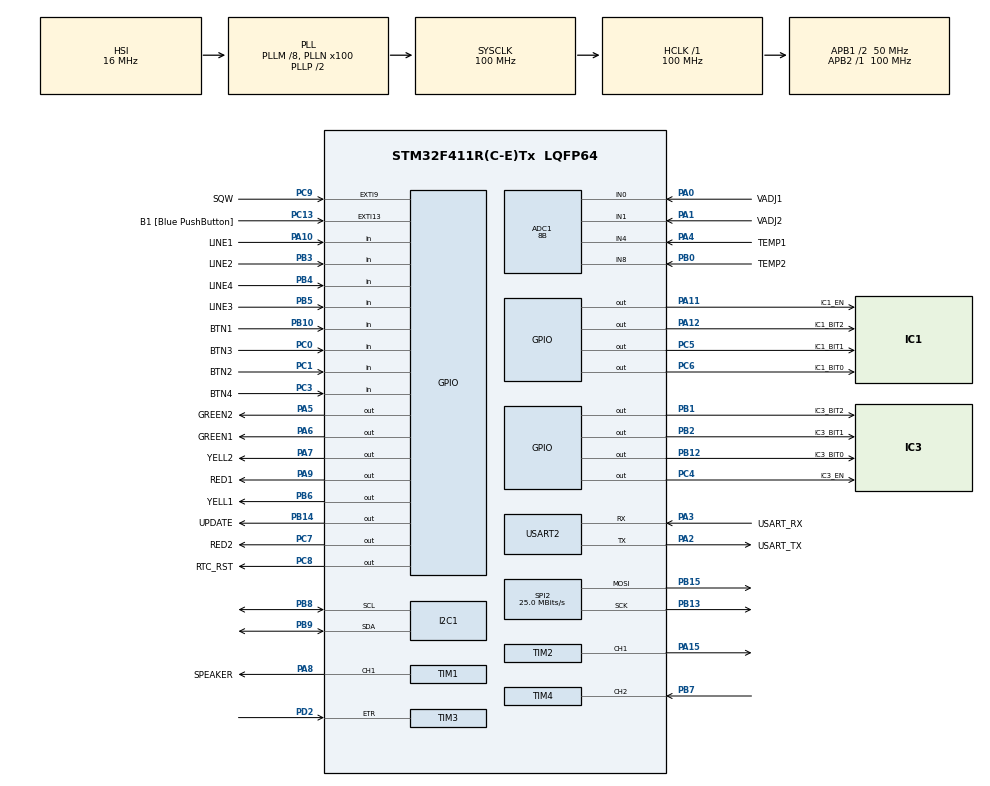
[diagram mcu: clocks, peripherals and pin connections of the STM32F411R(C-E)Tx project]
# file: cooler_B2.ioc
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ADC1.Channel-0\#ChannelRegularConversion=ADC_CHANNEL_0
ADC1.Channel-1\#ChannelRegularConversion=ADC_CHANNEL_1
ADC1.DiscontinuousConvMode=ENABLE
ADC1.EOCSelection=ADC_EOC_SEQ_CONV
ADC1.InjNumberOfConversion=0
ADC1.NbrOfConversion=2
ADC1.NbrOfConversionFlag=1
ADC1.Rank-0\#ChannelRegularConversion=1
ADC1.Rank-1\#ChannelRegularConversion=2
ADC1.Resolution=ADC_RESOLUTION_8B
ADC1.SamplingTime-0\#ChannelRegularConversion=ADC_SAMPLETIME_56CYCLES
ADC1.SamplingTime-1\#ChannelRegularConversion=ADC_SAMPLETIME_56CYCLES
ADC1.master=1
Mcu.Family=STM32F4
Mcu.Name=STM32F411R(C-E)Tx
Mcu.Package=LQFP64
NVIC.PriorityGroup=NVIC_PRIORITYGROUP_0
NVIC.TIM1_UP_TIM10_IRQn=true\:0\:0\:false\:false\:true\:true\:true\:true
NVIC.TIM4_IRQn=true\:0\:0\:false\:false\:true\:true\:true\:true
PA0-WKUP.GPIO_Label=VADJ1
PA0-WKUP.Signal=ADCx_IN0
PA1.GPIO_Label=VADJ2
PA1.Signal=ADCx_IN1
PA10.GPIO_Label=LINE1
PA10.Signal=GPIO_Input
PA11.GPIO_Label=IC1_EN
PA11.GPIO_Speed=GPIO_SPEED_FREQ_VERY_HIGH
PA11.Signal=GPIO_Output
PA12.GPIO_Label=IC1_BIT2
PA12.GPIO_Speed=GPIO_SPEED_FREQ_VERY_HIGH
PA12.Signal=GPIO_Output
PA13.GPIO_Label=TMS
PA13.Mode=Serial_Wire
PA13.Signal=SYS_JTMS-SWDIO
PA14.GPIO_Label=TCK
PA14.Mode=Serial_Wire
PA14.Signal=SYS_JTCK-SWCLK
PA15.Signal=S_TIM2_CH1_ETR
PA2.GPIO_Label=USART_TX
PA2.Mode=Asynchronous
PA2.Signal=USART2_TX
PA3.GPIO_Label=USART_RX
PA3.Mode=Asynchronous
PA3.Signal=USART2_RX
PA4.GPIO_Label=TEMP1
PA4.Signal=ADCx_IN4
PA5.GPIO_Label=GREEN2
PA5.GPIO_Speed=GPIO_SPEED_FREQ_VERY_HIGH
PA5.Signal=GPIO_Output
PA6.GPIO_Label=GREEN1
PA6.GPIO_Speed=GPIO_SPEED_FREQ_VERY_HIGH
PA6.Signal=GPIO_Output
PA7.GPIO_Label=YELL2
PA7.GPIO_Speed=GPIO_SPEED_FREQ_VERY_HIGH
PA7.Signal=GPIO_Output
PA8.GPIO_Label=SPEAKER
PA8.GPIO_Speed=GPIO_SPEED_FREQ_VERY_HIGH
PA8.Signal=S_TIM1_CH1
PA9.GPIO_Label=RED1
PA9.GPIO_Speed=GPIO_SPEED_FREQ_VERY_HIGH
PA9.Signal=GPIO_Output
PB0.GPIO_Label=TEMP2
PB0.Signal=ADCx_IN8
PB1.GPIO_Label=IC3_BIT2
PB1.GPIO_Speed=GPIO_SPEED_FREQ_VERY_HIGH
PB1.Signal=GPIO_Output
PB10.GPIO_Label=BTN1
PB10.GPIO_PuPd=GPIO_PULLUP
PB10.Signal=GPIO_Input
PB12.GPIO_Label=IC3_BIT0
PB12.GPIO_Speed=GPIO_SPEED_FREQ_VERY_HIGH
PB12.Signal=GPIO_Output
PB13.Mode=TX_Only_Simplex_Unidirect_Master
PB13.Signal=SPI2_SCK
PB14.GPIO_Label=UPDATE
PB14.GPIO_Speed=GPIO_SPEED_FREQ_VERY_HIGH
PB14.Signal=GPIO_Output
PB15.Mode=TX_Only_Simplex_Unidirect_Master
PB15.Signal=SPI2_MOSI
PB2.GPIO_Label=IC3_BIT1
PB2.GPIO_Speed=GPIO_SPEED_FREQ_VERY_HIGH
PB2.Signal=GPIO_Output
PB3.GPIO_Label=LINE2
PB3.Signal=GPIO_Input
PB4.GPIO_Label=LINE4
PB4.Signal=GPIO_Input
PB5.GPIO_Label=LINE3
PB5.Signal=GPIO_Input
PB6.GPIO_Label=YELL1
PB6.GPIO_Speed=GPIO_SPEED_FREQ_VERY_HIGH
PB6.Signal=GPIO_Output
PB7.GPIO_PuPd=GPIO_PULLUP
PB7.Signal=S_TIM4_CH2
PB8.Mode=I2C
PB8.Signal=I2C1_SCL
PB9.Mode=I2C
PB9.Signal=I2C1_SDA
PC0.GPIO_Label=BTN3
PC0.GPIO_PuPd=GPIO_PULLUP
PC0.Signal=GPIO_Input
PC1.GPIO_Label=BTN2
PC1.GPIO_PuPd=GPIO_PULLUP
PC1.Signal=GPIO_Input
PC13-ANTI_TAMP.GPIO_Label=B1 [Blue PushButton]
PC13-ANTI_TAMP.GPIO_ModeDefaultEXTI=GPIO_MODE_IT_FALLING
PC13-ANTI_TAMP.Signal=GPXTI13
PC14-OSC32_IN.Mode=LSE-External-Oscillator
PC14-OSC32_IN.Signal=RCC_OSC32_IN
PC15-OSC32_OUT.Mode=LSE-External-Oscillator
PC15-OSC32_OUT.Signal=RCC_OSC32_OUT
PC3.GPIO_Label=BTN4
PC3.GPIO_PuPd=GPIO_PULLUP
PC3.Signal=GPIO_Input
PC4.GPIO_Label=IC3_EN
PC4.GPIO_Speed=GPIO_SPEED_FREQ_VERY_HIGH
PC4.Signal=GPIO_Output
PC5.GPIO_Label=IC1_BIT1
PC5.GPIO_Speed=GPIO_SPEED_FREQ_VERY_HIGH
PC5.Signal=GPIO_Output
PC6.GPIO_Label=IC1_BIT0
PC6.GPIO_Speed=GPIO_SPEED_FREQ_VERY_HIGH
PC6.Signal=GPIO_Output
PC7.GPIO_Label=RED2
PC7.GPIO_Speed=GPIO_SPEED_FREQ_VERY_HIGH
PC7.Signal=GPIO_Output
PC8.GPIO_Label=RTC_RST
PC8.GPIO_Speed=GPIO_SPEED_FREQ_VERY_HIGH
PC8.Signal=GPIO_Output
PC9.GPIO_Label=SQW
PC9.Signal=GPXTI9
PD2.Signal=S_TIM3_ETR
PH0\ -\ OSC_IN.Mode=HSE-External-Clock-Source
PH0\ -\ OSC_IN.Signal=RCC_OSC_IN
PH1\ -\ OSC_OUT.Mode=HSE-External-Clock-Source
PH1\ -\ OSC_OUT.Signal=RCC_OSC_OUT
ProjectManager.HeapSize=0x200
ProjectManager.StackSize=0x400
ProjectManager.TargetToolchain=STM32CubeIDE
RCC.48MHZClocksFreq_Value=50000000
RCC.AHBFreq_Value=100000000
RCC.APB1CLKDivider=RCC_HCLK_DIV2
RCC.APB1Freq_Value=50000000
RCC.APB1TimFreq_Value=100000000
RCC.APB2Freq_Value=100000000
RCC.APB2TimFreq_Value=100000000
RCC.CortexFreq_Value=100000000
RCC.FLatency-AdvancedSettings=FLASH_LATENCY_3
RCC.HCLKFreq_Value=100000000
RCC.HSE_VALUE=8000000
RCC.HSI_VALUE=16000000
RCC.PLLM=8
RCC.PLLN=100
RCC.SYSCLKFreq_VALUE=100000000
RCC.SYSCLKSource=RCC_SYSCLKSOURCE_PLLCLK
RCC.VCOOutputFreq_Value=200000000
SH.ADCx_IN0.0=ADC1_IN0,IN0
SH.ADCx_IN1.0=ADC1_IN1,IN1
SH.ADCx_IN4.0=ADC1_IN4,IN4
SH.ADCx_IN8.0=ADC1_IN8,IN8
SH.S_TIM1_CH1.0=TIM1_CH1,Output Compare1 CH1
SH.S_TIM2_CH1_ETR.0=TIM2_CH1,PWM Generation1 CH1
SH.S_TIM3_ETR.0=TIM3_ETR,ClockSourceETR_Mode2
SH.S_TIM4_CH2.0=TIM4_CH2,Input_Capture2_from_TI2
SH.S_TIM4_CH2.1=TIM4_CH2,Input_Capture1_from_TI2
SPI2.BaudRatePrescaler=SPI_BAUDRATEPRESCALER_2
SPI2.CLKPolarity=SPI_POLARITY_HIGH
SPI2.CalculateBaudRate=25.0 MBits/s
SPI2.Direction=SPI_DIRECTION_2LINES
SPI2.Mode=SPI_MODE_MASTER
SPI2.VirtualType=VM_MASTER
TIM1.AutoReloadPreload=TIM_AUTORELOAD_PRELOAD_ENABLE
TIM1.Channel-Output\ Compare1\ CH1=TIM_CHANNEL_1
TIM1.OC1Preload=DISABLE
TIM1.OCMode_1=TIM_OCMODE_TOGGLE
TIM1.Period=1000
TIM1.Prescaler=49
TIM1.Pulse-Output\ Compare1\ CH1=1
TIM10.AutoReloadPreload=TIM_AUTORELOAD_PRELOAD_ENABLE
TIM10.Channel=TIM_CHANNEL_1
TIM10.Period=100
TIM10.Prescaler=4999
TIM10.Pulse=0
TIM2.Channel-PWM\ Generation1\ CH1=TIM_CHANNEL_1
TIM2.Period=20000
TIM2.Prescaler=999
TIM2.Pulse-PWM\ Generation1\ CH1=10000
TIM3.Period=999
TIM3.Prescaler=999
TIM4.Channel-Input_Capture1_from_TI2=TIM_CHANNEL_1
TIM4.Channel-Input_Capture2_from_TI2=TIM_CHANNEL_2
TIM4.ICPolarity_CH2=TIM_INPUTCHANNELPOLARITY_FALLING
TIM4.Prescaler=99
USART2.VirtualMode=VM_ASYNC
VP_TIM10_VS_ClockSourceINT.Mode=Enable_Timer
VP_TIM10_VS_no_output1.Mode=PWM Generation1 No Output
VP_TIM1_VS_ClockSourceINT.Mode=Internal
VP_TIM2_VS_ClockSourceINT.Mode=Internal
VP_TIM4_VS_ClockSourceINT.Mode=Internal
board=NUCLEO-F411RE

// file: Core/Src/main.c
/* USER CODE BEGIN Header */
/**
  ******************************************************************************
  * @file           : main.c
  * @brief          : Main program body
  ******************************************************************************
  * @attention
  *
  * <h2><center>&copy; Copyright (c) 2020 STMicroelectronics.
  * All rights reserved.</center></h2>
  *
  * This software component is licensed by ST under BSD 3-Clause license,
  * the "License"; You may not use this file except in compliance with the
  * License. You may obtain a copy of the License at:
  *                        opensource.org/licenses/BSD-3-Clause
  *
  ******************************************************************************
  */
/* USER CODE END Header */
#include "main.h"

/* USER CODE BEGIN Includes */
#include "LEDindicator.h"
#include "keyboard.h"
#include "ringtone3310.h"
#include "Sound.h"
#include "ssd1306.h"
/* USER CODE END Includes */

/* USER CODE BEGIN PTD */
typedef struct MenuItem{
	uint16_t id;
	char descripion[15];
	struct MenuItem *up;
	struct MenuItem *dn;
	struct MenuItem *lf;
	struct MenuItem *rt;
	void (*action)(void);
}MenuItem;
/* USER CODE END PTD */

ADC_HandleTypeDef hadc1;

I2C_HandleTypeDef hi2c1;

SPI_HandleTypeDef hspi2;

TIM_HandleTypeDef htim1;
TIM_HandleTypeDef htim2;
TIM_HandleTypeDef htim3;
TIM_HandleTypeDef htim4;
TIM_HandleTypeDef htim10;

UART_HandleTypeDef huart2;

/* USER CODE BEGIN PV */

int8_t display_memory[MAX_INDICATOR] = {0,}; //play

//мелоди�? при запу�?ке
char *melody="16g2 8- 16g2 8- 16f2 16- 16#f2 16- 16g2 8- 16g2 8- 16#a2 16- 16c3 16- 16g2 8- 16g2 8- 16f2 16- 16#f2 16- 16g2 8- 16g2 8- 16#a2 16- 16c3 16- 16#a2 16g2 2d2 32- 16#a2 16g2 2#c2 32- 16#a2 16g2 2c2 16- 16#a1 16c2";

uint8_t num_of_pressed_button;
uint8_t str_buf[50] = {};
uint16_t cnt_task_adc = 0;
uint16_t cnt_task_Display = 0;
uint16_t cnt_task_keyboard=0;

uint16_t c = 0;
uint16_t adc_res1=155;
uint16_t period;
uint16_t pulse;
MenuItem *cur_menu;
//пункты меню
MenuItem m_rpm = {1,  "RPM", NULL, NULL, NULL, NULL};
MenuItem m_RpmDigit = {101,"RPM", NULL, NULL, NULL, NULL};

int temp_angle;
int angle_prev;

int vol = 2023; //параметр "календарный год".
int vol_change_en = 0;

/* USER CODE END PV */

void SystemClock_Config(void);
static void MX_GPIO_Init(void);
static void MX_USART2_UART_Init(void);
static void MX_ADC1_Init(void);
static void MX_TIM10_Init(void);
static void MX_SPI2_Init(void);
static void MX_TIM1_Init(void);
static void MX_I2C1_Init(void);
static void MX_TIM2_Init(void);
static void MX_TIM3_Init(void);
static void MX_TIM4_Init(void);
/* USER CODE BEGIN PFP */
void draw_bar(uint8_t param);
/* USER CODE END PFP */

/* USER CODE BEGIN 0 */
void HAL_IncTick(void)
{
  uwTick += uwTickFreq;
  cnt_task_adc++;
  cnt_task_keyboard++;
  cnt_task_Display++;
}
/************************************************************************************
 * прерывания для обраотки индикаторов и клавиатуры
 */
void HAL_TIM_PeriodElapsedCallback(TIM_HandleTypeDef *htim){
	if(htim->Instance == TIM10) {
		//поочередное включение �?еми�?егментных индикаторов
		indicator_dinamic(display_memory, MAX_INDICATOR);

		//опрос клавиатуры
		button_polling();
	}
}

void HAL_TIM_PWM_PulseFinishedCallback(TIM_HandleTypeDef *htim){
	if(htim->Instance == TIM10) {
		//выключаем индикаторы дл�? регулировани�? �?рко�?ти
//		indicator_decoder_disable();
	}
}
void HAL_TIM_IC_CaptureCallback(TIM_HandleTypeDef *htim)
{
//	__HAL_TIM_SET_COUNTER(&htim4, 0);
	TIM4->CNT =0;
	period = HAL_TIM_ReadCapturedValue(&htim4, TIM_CHANNEL_2);
	pulse = HAL_TIM_ReadCapturedValue(&htim4, TIM_CHANNEL_1);

}

void display_Update(){
	int temp_per;
	if (cnt_task_Display>1000){
			cnt_task_Display = 0;

		switch (cur_menu->id) {
			case 1:
				sprintf(str_buf, m_rpm.descripion);
				ssd1306_SetCursor(8, 10);
				ssd1306_WriteString(&str_buf, Font_7x10, White);
				ssd1306_SetCursor(0, cur_menu->id*10);
				ssd1306_WriteChar('>', Font_7x10, White);
				break;
			case 101: //rpm
				ssd1306_SetCursor(4, 8);
				ssd1306_WriteString("RPM", Font_11x18, White);
				ssd1306_DrawLine(96, 32, temp_angle + 90, 30, White);
				break;
			default:
				break;
		}
		//отображение кода нажатой кнопки.
		//можно использовать при отладке клавиатуры
//		sprintf(str_buf, "k %3d", num_of_pressed_button);
//		ssd1306_SetCursor(0, 52);
//		ssd1306_WriteString(&str_buf, Font_7x10, White);

		ssd1306_UpdateScreen(&hi2c1);

		display_memory[2] = indicator_get_segm_code(vol%10, 0);//
	}
}
void adcRoutine(){
	if (cnt_task_adc>100){
		cnt_task_adc = 0;
		  HAL_ADC_Start(&hadc1);
		  HAL_ADC_PollForConversion(&hadc1, 50);
		  adc_res1 = HAL_ADC_GetValue(&hadc1);
		  HAL_ADC_Stop(&hadc1);
		  //здесь нужно правильно настроить ШИМ для вентилятора
		  htim2.Instance->CCR1 = (255-adc_res1)*12000/255+2000;	}
}
void get_keyboard(){
	if (cnt_task_keyboard>10){
		cnt_task_keyboard=0;
		  num_of_pressed_button = button_get_key();
		  switch (num_of_pressed_button) {
			case 6://обработчик кнопки вправо
				if (cur_menu->rt) {cur_menu = cur_menu->rt;}
				break;
			case 4://обработчик кнопки влево
				if (cur_menu->lf) {cur_menu = cur_menu->lf;}
				break;
			case 5://обработчик кнопки ОК

			default:
				break;
		}
	}
}
void menuinit(){

	m_rpm.rt = &m_RpmDigit;
	m_RpmDigit.lf = &m_rpm;

	cur_menu = &m_RpmDigit;

}
void draw_bar(uint8_t param){ //рисование линейной шкалы
		//наверно тут надо что исправить
	for (int var = 0; var < param; ++var) {
		var +=7;
		ssd1306_DrawPixel(120-var/3, 40, White);
	}
	//...а тут дописать.

}

/* USER CODE END 0 */

int main(void)
{

  /* MCU Configuration--------------------------------------------------------*/

  /* Reset of all peripherals, Initializes the Flash interface and the Systick. */
  HAL_Init();

  /* Configure the system clock */
  SystemClock_Config();

  /* Initialize all configured peripherals */
  MX_GPIO_Init();
  MX_USART2_UART_Init();
  MX_ADC1_Init();
  MX_TIM10_Init();
  MX_SPI2_Init();
  MX_TIM1_Init();
  MX_I2C1_Init();
  MX_TIM2_Init();
  MX_TIM3_Init();
  MX_TIM4_Init();
  /* USER CODE BEGIN 2 */
  ssd1306_Init(&hi2c1);
  ssd1306_SetCursor(20,10 );
  ssd1306_WriteString("URTK", Font_11x18, White);
  ssd1306_UpdateScreen(&hi2c1);
  HAL_Delay(150);
  ssd1306_Fill(Black);
  //запу�?каем таймер дл�? обработки динамиче�?кой �?еми�?егментной индикации
  HAL_TIM_Base_Start_IT(&htim10);
  HAL_TIM_PWM_Start_IT(&htim10, TIM_CHANNEL_1);

  //настраиваем коды цифровых кнопок
  button_set_new_key_code(button_S1, 7);
  button_set_new_key_code(button_S2, 8);
  button_set_new_key_code(button_S3, 9);

  button_set_new_key_code(button_S4, 4);
  button_set_new_key_code(button_S5, 5);
  button_set_new_key_code(button_S6, 6);

  button_set_new_key_code(button_S7, 1);
  button_set_new_key_code(button_S8, 2);
  button_set_new_key_code(button_S9, 3);

  button_set_new_key_code(button_S11, 0);

  //настраиваем коды остальных кнопок
  button_set_new_key_code(button_S10, 10);
  button_set_new_key_code(button_S12, 11);

  button_set_new_key_code(button_S13, 12);
  button_set_new_key_code(button_S14, 13);
  button_set_new_key_code(button_S15, 14);
  button_set_new_key_code(button_S16, 15);

  //воспроизведение мелодии
  composer_reset();
  composer_record_melody(melody);
  while(composer_play_the_melody(10)){HAL_Delay(10);}
  /* USER CODE END 2 */

  /* Infinite loop */
  /* USER CODE BEGIN WHILE */

  //позиция отображения кода на дисплее
  uint8_t enter_position = 0;

  HAL_TIM_PWM_Start(&htim2, TIM_CHANNEL_1);  //для управления шим-ом вентилятора
  HAL_TIM_IC_Start_IT(&htim4, TIM_CHANNEL_2);  //для обратной связи вентилятора
  HAL_TIM_IC_Start_IT(&htim4, TIM_CHANNEL_1); //для обратной связи вентилятора

  HAL_TIM_Base_Start(&htim3);

  menuinit();  //инициализация меню

  while (1)
  {
    /* USER CODE END WHILE */

    /* USER CODE BEGIN 3 */
	  adcRoutine();
	  get_keyboard();
	  display_Update();

 }
  /* USER CODE END 3 */
}

void SystemClock_Config(void)
{
  RCC_OscInitTypeDef RCC_OscInitStruct = {0};
  RCC_ClkInitTypeDef RCC_ClkInitStruct = {0};

  /** Configure the main internal regulator output voltage
  */
  __HAL_RCC_PWR_CLK_ENABLE();
  __HAL_PWR_VOLTAGESCALING_CONFIG(PWR_REGULATOR_VOLTAGE_SCALE1);
  /** Initializes the RCC Oscillators according to the specified parameters
  * in the RCC_OscInitTypeDef structure.
  */
  RCC_OscInitStruct.OscillatorType = RCC_OSCILLATORTYPE_HSI;
  RCC_OscInitStruct.HSIState = RCC_HSI_ON;
  RCC_OscInitStruct.HSICalibrationValue = RCC_HSICALIBRATION_DEFAULT;
  RCC_OscInitStruct.PLL.PLLState = RCC_PLL_ON;
  RCC_OscInitStruct.PLL.PLLSource = RCC_PLLSOURCE_HSI;
  RCC_OscInitStruct.PLL.PLLM = 8;
  RCC_OscInitStruct.PLL.PLLN = 100;
  RCC_OscInitStruct.PLL.PLLP = RCC_PLLP_DIV2;
  RCC_OscInitStruct.PLL.PLLQ = 4;
  if (HAL_RCC_OscConfig(&RCC_OscInitStruct) != HAL_OK)
  {
    Error_Handler();
  }
  /** Initializes the CPU, AHB and APB buses clocks
  */
  RCC_ClkInitStruct.ClockType = RCC_CLOCKTYPE_HCLK|RCC_CLOCKTYPE_SYSCLK
                              |RCC_CLOCKTYPE_PCLK1|RCC_CLOCKTYPE_PCLK2;
  RCC_ClkInitStruct.SYSCLKSource = RCC_SYSCLKSOURCE_PLLCLK;
  RCC_ClkInitStruct.AHBCLKDivider = RCC_SYSCLK_DIV1;
  RCC_ClkInitStruct.APB1CLKDivider = RCC_HCLK_DIV2;
  RCC_ClkInitStruct.APB2CLKDivider = RCC_HCLK_DIV1;

  if (HAL_RCC_ClockConfig(&RCC_ClkInitStruct, FLASH_LATENCY_3) != HAL_OK)
  {
    Error_Handler();
  }
}

static void MX_ADC1_Init(void)
{

  ADC_ChannelConfTypeDef sConfig = {0};

  /** Configure the global features of the ADC (Clock, Resolution, Data Alignment and number of conversion)
  */
  hadc1.Instance = ADC1;
  hadc1.Init.ClockPrescaler = ADC_CLOCK_SYNC_PCLK_DIV4;
  hadc1.Init.Resolution = ADC_RESOLUTION_8B;
  hadc1.Init.ScanConvMode = ENABLE;
  hadc1.Init.ContinuousConvMode = DISABLE;
  hadc1.Init.DiscontinuousConvMode = ENABLE;
  hadc1.Init.NbrOfDiscConversion = 1;
  hadc1.Init.ExternalTrigConvEdge = ADC_EXTERNALTRIGCONVEDGE_NONE;
  hadc1.Init.ExternalTrigConv = ADC_SOFTWARE_START;
  hadc1.Init.DataAlign = ADC_DATAALIGN_RIGHT;
  hadc1.Init.NbrOfConversion = 2;
  hadc1.Init.DMAContinuousRequests = DISABLE;
  hadc1.Init.EOCSelection = ADC_EOC_SEQ_CONV;
  if (HAL_ADC_Init(&hadc1) != HAL_OK)
  {
    Error_Handler();
  }
  /** Configure for the selected ADC regular channel its corresponding rank in the sequencer and its sample time.
  */
  sConfig.Channel = ADC_CHANNEL_0;
  sConfig.Rank = 1;
  sConfig.SamplingTime = ADC_SAMPLETIME_56CYCLES;
  if (HAL_ADC_ConfigChannel(&hadc1, &sConfig) != HAL_OK)
  {
    Error_Handler();
  }
  /** Configure for the selected ADC regular channel its corresponding rank in the sequencer and its sample time.
  */
  sConfig.Channel = ADC_CHANNEL_1;
  sConfig.Rank = 2;
  if (HAL_ADC_ConfigChannel(&hadc1, &sConfig) != HAL_OK)
  {
    Error_Handler();
  }

}

static void MX_I2C1_Init(void)
{

  hi2c1.Instance = I2C1;
  hi2c1.Init.ClockSpeed = 100000;
  hi2c1.Init.DutyCycle = I2C_DUTYCYCLE_2;
  hi2c1.Init.OwnAddress1 = 0;
  hi2c1.Init.AddressingMode = I2C_ADDRESSINGMODE_7BIT;
  hi2c1.Init.DualAddressMode = I2C_DUALADDRESS_DISABLE;
  hi2c1.Init.OwnAddress2 = 0;
  hi2c1.Init.GeneralCallMode = I2C_GENERALCALL_DISABLE;
  hi2c1.Init.NoStretchMode = I2C_NOSTRETCH_DISABLE;
  if (HAL_I2C_Init(&hi2c1) != HAL_OK)
  {
    Error_Handler();
  }

}

static void MX_SPI2_Init(void)
{

  /* SPI2 parameter configuration*/
  hspi2.Instance = SPI2;
  hspi2.Init.Mode = SPI_MODE_MASTER;
  hspi2.Init.Direction = SPI_DIRECTION_2LINES;
  hspi2.Init.DataSize = SPI_DATASIZE_8BIT;
  hspi2.Init.CLKPolarity = SPI_POLARITY_HIGH;
  hspi2.Init.CLKPhase = SPI_PHASE_1EDGE;
  hspi2.Init.NSS = SPI_NSS_SOFT;
  hspi2.Init.BaudRatePrescaler = SPI_BAUDRATEPRESCALER_2;
  hspi2.Init.FirstBit = SPI_FIRSTBIT_MSB;
  hspi2.Init.TIMode = SPI_TIMODE_DISABLE;
  hspi2.Init.CRCCalculation = SPI_CRCCALCULATION_DISABLE;
  hspi2.Init.CRCPolynomial = 10;
  if (HAL_SPI_Init(&hspi2) != HAL_OK)
  {
    Error_Handler();
  }

}

static void MX_TIM1_Init(void)
{

  TIM_ClockConfigTypeDef sClockSourceConfig = {0};
  TIM_MasterConfigTypeDef sMasterConfig = {0};
  TIM_OC_InitTypeDef sConfigOC = {0};
  TIM_BreakDeadTimeConfigTypeDef sBreakDeadTimeConfig = {0};

  htim1.Instance = TIM1;
  htim1.Init.Prescaler = 49;
  htim1.Init.CounterMode = TIM_COUNTERMODE_UP;
  htim1.Init.Period = 1000;
  htim1.Init.ClockDivision = TIM_CLOCKDIVISION_DIV1;
  htim1.Init.RepetitionCounter = 0;
  htim1.Init.AutoReloadPreload = TIM_AUTORELOAD_PRELOAD_ENABLE;
  if (HAL_TIM_Base_Init(&htim1) != HAL_OK)
  {
    Error_Handler();
  }
  sClockSourceConfig.ClockSource = TIM_CLOCKSOURCE_INTERNAL;
  if (HAL_TIM_ConfigClockSource(&htim1, &sClockSourceConfig) != HAL_OK)
  {
    Error_Handler();
  }
  if (HAL_TIM_OC_Init(&htim1) != HAL_OK)
  {
    Error_Handler();
  }
  sMasterConfig.MasterOutputTrigger = TIM_TRGO_RESET;
  sMasterConfig.MasterSlaveMode = TIM_MASTERSLAVEMODE_DISABLE;
  if (HAL_TIMEx_MasterConfigSynchronization(&htim1, &sMasterConfig) != HAL_OK)
  {
    Error_Handler();
  }
  sConfigOC.OCMode = TIM_OCMODE_TOGGLE;
  sConfigOC.Pulse = 1;
  sConfigOC.OCPolarity = TIM_OCPOLARITY_HIGH;
  sConfigOC.OCNPolarity = TIM_OCNPOLARITY_HIGH;
  sConfigOC.OCFastMode = TIM_OCFAST_DISABLE;
  sConfigOC.OCIdleState = TIM_OCIDLESTATE_RESET;
  sConfigOC.OCNIdleState = TIM_OCNIDLESTATE_RESET;
  if (HAL_TIM_OC_ConfigChannel(&htim1, &sConfigOC, TIM_CHANNEL_1) != HAL_OK)
  {
    Error_Handler();
  }
  sBreakDeadTimeConfig.OffStateRunMode = TIM_OSSR_DISABLE;
  sBreakDeadTimeConfig.OffStateIDLEMode = TIM_OSSI_DISABLE;
  sBreakDeadTimeConfig.LockLevel = TIM_LOCKLEVEL_OFF;
  sBreakDeadTimeConfig.DeadTime = 0;
  sBreakDeadTimeConfig.BreakState = TIM_BREAK_DISABLE;
  sBreakDeadTimeConfig.BreakPolarity = TIM_BREAKPOLARITY_HIGH;
  sBreakDeadTimeConfig.AutomaticOutput = TIM_AUTOMATICOUTPUT_DISABLE;
  if (HAL_TIMEx_ConfigBreakDeadTime(&htim1, &sBreakDeadTimeConfig) != HAL_OK)
  {
    Error_Handler();
  }
  HAL_TIM_MspPostInit(&htim1);

}

static void MX_TIM2_Init(void)
{

  TIM_ClockConfigTypeDef sClockSourceConfig = {0};
  TIM_MasterConfigTypeDef sMasterConfig = {0};
  TIM_OC_InitTypeDef sConfigOC = {0};

  htim2.Instance = TIM2;
  htim2.Init.Prescaler = 999;
  htim2.Init.CounterMode = TIM_COUNTERMODE_UP;
  htim2.Init.Period = 20000;
  htim2.Init.ClockDivision = TIM_CLOCKDIVISION_DIV1;
  htim2.Init.AutoReloadPreload = TIM_AUTORELOAD_PRELOAD_DISABLE;
  if (HAL_TIM_Base_Init(&htim2) != HAL_OK)
  {
    Error_Handler();
  }
  sClockSourceConfig.ClockSource = TIM_CLOCKSOURCE_INTERNAL;
  if (HAL_TIM_ConfigClockSource(&htim2, &sClockSourceConfig) != HAL_OK)
  {
    Error_Handler();
  }
  if (HAL_TIM_PWM_Init(&htim2) != HAL_OK)
  {
    Error_Handler();
  }
  sMasterConfig.MasterOutputTrigger = TIM_TRGO_RESET;
  sMasterConfig.MasterSlaveMode = TIM_MASTERSLAVEMODE_DISABLE;
  if (HAL_TIMEx_MasterConfigSynchronization(&htim2, &sMasterConfig) != HAL_OK)
  {
    Error_Handler();
  }
  sConfigOC.OCMode = TIM_OCMODE_PWM1;
  sConfigOC.Pulse = 10000;
  sConfigOC.OCPolarity = TIM_OCPOLARITY_HIGH;
  sConfigOC.OCFastMode = TIM_OCFAST_DISABLE;
  if (HAL_TIM_PWM_ConfigChannel(&htim2, &sConfigOC, TIM_CHANNEL_1) != HAL_OK)
  {
    Error_Handler();
  }
  HAL_TIM_MspPostInit(&htim2);

}

static void MX_TIM3_Init(void)
{

  TIM_ClockConfigTypeDef sClockSourceConfig = {0};
  TIM_MasterConfigTypeDef sMasterConfig = {0};

  htim3.Instance = TIM3;
  htim3.Init.Prescaler = 999;
  htim3.Init.CounterMode = TIM_COUNTERMODE_UP;
  htim3.Init.Period = 999;
  htim3.Init.ClockDivision = TIM_CLOCKDIVISION_DIV1;
  htim3.Init.AutoReloadPreload = TIM_AUTORELOAD_PRELOAD_DISABLE;
  if (HAL_TIM_Base_Init(&htim3) != HAL_OK)
  {
    Error_Handler();
  }
  sClockSourceConfig.ClockSource = TIM_CLOCKSOURCE_ETRMODE2;
  sClockSourceConfig.ClockPolarity = TIM_CLOCKPOLARITY_NONINVERTED;
  sClockSourceConfig.ClockPrescaler = TIM_CLOCKPRESCALER_DIV1;
  sClockSourceConfig.ClockFilter = 0;
  if (HAL_TIM_ConfigClockSource(&htim3, &sClockSourceConfig) != HAL_OK)
  {
    Error_Handler();
  }
  sMasterConfig.MasterOutputTrigger = TIM_TRGO_RESET;
  sMasterConfig.MasterSlaveMode = TIM_MASTERSLAVEMODE_DISABLE;
  if (HAL_TIMEx_MasterConfigSynchronization(&htim3, &sMasterConfig) != HAL_OK)
  {
    Error_Handler();
  }

}

static void MX_TIM4_Init(void)
{

  TIM_ClockConfigTypeDef sClockSourceConfig = {0};
  TIM_MasterConfigTypeDef sMasterConfig = {0};
  TIM_IC_InitTypeDef sConfigIC = {0};

  htim4.Instance = TIM4;
  htim4.Init.Prescaler = 99;
  htim4.Init.CounterMode = TIM_COUNTERMODE_UP;
  htim4.Init.Period = 65535;
  htim4.Init.ClockDivision = TIM_CLOCKDIVISION_DIV1;
  htim4.Init.AutoReloadPreload = TIM_AUTORELOAD_PRELOAD_DISABLE;
  if (HAL_TIM_Base_Init(&htim4) != HAL_OK)
  {
    Error_Handler();
  }
  sClockSourceConfig.ClockSource = TIM_CLOCKSOURCE_INTERNAL;
  if (HAL_TIM_ConfigClockSource(&htim4, &sClockSourceConfig) != HAL_OK)
  {
    Error_Handler();
  }
  if (HAL_TIM_IC_Init(&htim4) != HAL_OK)
  {
    Error_Handler();
  }
  sMasterConfig.MasterOutputTrigger = TIM_TRGO_RESET;
  sMasterConfig.MasterSlaveMode = TIM_MASTERSLAVEMODE_DISABLE;
  if (HAL_TIMEx_MasterConfigSynchronization(&htim4, &sMasterConfig) != HAL_OK)
  {
    Error_Handler();
  }
  sConfigIC.ICPolarity = TIM_INPUTCHANNELPOLARITY_RISING;
  sConfigIC.ICSelection = TIM_ICSELECTION_INDIRECTTI;
  sConfigIC.ICPrescaler = TIM_ICPSC_DIV1;
  sConfigIC.ICFilter = 0;
  if (HAL_TIM_IC_ConfigChannel(&htim4, &sConfigIC, TIM_CHANNEL_1) != HAL_OK)
  {
    Error_Handler();
  }
  sConfigIC.ICPolarity = TIM_INPUTCHANNELPOLARITY_FALLING;
  sConfigIC.ICSelection = TIM_ICSELECTION_DIRECTTI;
  if (HAL_TIM_IC_ConfigChannel(&htim4, &sConfigIC, TIM_CHANNEL_2) != HAL_OK)
  {
    Error_Handler();
  }

}

static void MX_TIM10_Init(void)
{

  TIM_OC_InitTypeDef sConfigOC = {0};

  htim10.Instance = TIM10;
  htim10.Init.Prescaler = 4999;
  htim10.Init.CounterMode = TIM_COUNTERMODE_UP;
  htim10.Init.Period = 100;
  htim10.Init.ClockDivision = TIM_CLOCKDIVISION_DIV1;
  htim10.Init.AutoReloadPreload = TIM_AUTORELOAD_PRELOAD_ENABLE;
  if (HAL_TIM_Base_Init(&htim10) != HAL_OK)
  {
    Error_Handler();
  }
  if (HAL_TIM_PWM_Init(&htim10) != HAL_OK)
  {
    Error_Handler();
  }
  sConfigOC.OCMode = TIM_OCMODE_PWM1;
  sConfigOC.Pulse = 0;
  sConfigOC.OCPolarity = TIM_OCPOLARITY_HIGH;
  sConfigOC.OCFastMode = TIM_OCFAST_DISABLE;
  if (HAL_TIM_PWM_ConfigChannel(&htim10, &sConfigOC, TIM_CHANNEL_1) != HAL_OK)
  {
    Error_Handler();
  }

}

static void MX_USART2_UART_Init(void)
{

  huart2.Instance = USART2;
  huart2.Init.BaudRate = 115200;
  huart2.Init.WordLength = UART_WORDLENGTH_8B;
  huart2.Init.StopBits = UART_STOPBITS_1;
  huart2.Init.Parity = UART_PARITY_NONE;
  huart2.Init.Mode = UART_MODE_TX_RX;
  huart2.Init.HwFlowCtl = UART_HWCONTROL_NONE;
  huart2.Init.OverSampling = UART_OVERSAMPLING_16;
  if (HAL_UART_Init(&huart2) != HAL_OK)
  {
    Error_Handler();
  }

}

static void MX_GPIO_Init(void)
{
  GPIO_InitTypeDef GPIO_InitStruct = {0};

  /* GPIO Ports Clock Enable */
  __HAL_RCC_GPIOC_CLK_ENABLE();
  __HAL_RCC_GPIOH_CLK_ENABLE();
  __HAL_RCC_GPIOA_CLK_ENABLE();
  __HAL_RCC_GPIOB_CLK_ENABLE();
  __HAL_RCC_GPIOD_CLK_ENABLE();

  /*Configure GPIO pin Output Level */
  HAL_GPIO_WritePin(GPIOA, GREEN2_Pin|GREEN1_Pin|YELL2_Pin|RED1_Pin
                          |IC1_EN_Pin|IC1_BIT2_Pin, GPIO_PIN_RESET);

  /*Configure GPIO pin Output Level */
  HAL_GPIO_WritePin(GPIOC, IC3_EN_Pin|IC1_BIT1_Pin|IC1_BIT0_Pin|RED2_Pin
                          |RTC_RST_Pin, GPIO_PIN_RESET);

  /*Configure GPIO pin Output Level */
  HAL_GPIO_WritePin(GPIOB, IC3_BIT2_Pin|IC3_BIT1_Pin|IC3_BIT0_Pin|UPDATE_Pin
                          |YELL1_Pin, GPIO_PIN_RESET);

  /*Configure GPIO pin : B1_Pin */
  GPIO_InitStruct.Pin = B1_Pin;
  GPIO_InitStruct.Mode = GPIO_MODE_IT_FALLING;
  GPIO_InitStruct.Pull = GPIO_NOPULL;
  HAL_GPIO_Init(B1_GPIO_Port, &GPIO_InitStruct);

  /*Configure GPIO pins : BTN3_Pin BTN2_Pin BTN4_Pin */
  GPIO_InitStruct.Pin = BTN3_Pin|BTN2_Pin|BTN4_Pin;
  GPIO_InitStruct.Mode = GPIO_MODE_INPUT;
  GPIO_InitStruct.Pull = GPIO_PULLUP;
  HAL_GPIO_Init(GPIOC, &GPIO_InitStruct);

  /*Configure GPIO pins : GREEN2_Pin GREEN1_Pin YELL2_Pin RED1_Pin
                           IC1_EN_Pin IC1_BIT2_Pin */
  GPIO_InitStruct.Pin = GREEN2_Pin|GREEN1_Pin|YELL2_Pin|RED1_Pin
                          |IC1_EN_Pin|IC1_BIT2_Pin;
  GPIO_InitStruct.Mode = GPIO_MODE_OUTPUT_PP;
  GPIO_InitStruct.Pull = GPIO_NOPULL;
  GPIO_InitStruct.Speed = GPIO_SPEED_FREQ_VERY_HIGH;
  HAL_GPIO_Init(GPIOA, &GPIO_InitStruct);

  /*Configure GPIO pins : IC3_EN_Pin IC1_BIT1_Pin IC1_BIT0_Pin RED2_Pin
                           RTC_RST_Pin */
  GPIO_InitStruct.Pin = IC3_EN_Pin|IC1_BIT1_Pin|IC1_BIT0_Pin|RED2_Pin
                          |RTC_RST_Pin;
  GPIO_InitStruct.Mode = GPIO_MODE_OUTPUT_PP;
  GPIO_InitStruct.Pull = GPIO_NOPULL;
  GPIO_InitStruct.Speed = GPIO_SPEED_FREQ_VERY_HIGH;
  HAL_GPIO_Init(GPIOC, &GPIO_InitStruct);

  /*Configure GPIO pins : IC3_BIT2_Pin IC3_BIT1_Pin IC3_BIT0_Pin UPDATE_Pin
                           YELL1_Pin */
  GPIO_InitStruct.Pin = IC3_BIT2_Pin|IC3_BIT1_Pin|IC3_BIT0_Pin|UPDATE_Pin
                          |YELL1_Pin;
  GPIO_InitStruct.Mode = GPIO_MODE_OUTPUT_PP;
  GPIO_InitStruct.Pull = GPIO_NOPULL;
  GPIO_InitStruct.Speed = GPIO_SPEED_FREQ_VERY_HIGH;
  HAL_GPIO_Init(GPIOB, &GPIO_InitStruct);

  /*Configure GPIO pin : BTN1_Pin */
  GPIO_InitStruct.Pin = BTN1_Pin;
  GPIO_InitStruct.Mode = GPIO_MODE_INPUT;
  GPIO_InitStruct.Pull = GPIO_PULLUP;
  HAL_GPIO_Init(BTN1_GPIO_Port, &GPIO_InitStruct);

  /*Configure GPIO pin : SQW_Pin */
  GPIO_InitStruct.Pin = SQW_Pin;
  GPIO_InitStruct.Mode = GPIO_MODE_IT_RISING;
  GPIO_InitStruct.Pull = GPIO_NOPULL;
  HAL_GPIO_Init(SQW_GPIO_Port, &GPIO_InitStruct);

  /*Configure GPIO pin : LINE1_Pin */
  GPIO_InitStruct.Pin = LINE1_Pin;
  GPIO_InitStruct.Mode = GPIO_MODE_INPUT;
  GPIO_InitStruct.Pull = GPIO_NOPULL;
  HAL_GPIO_Init(LINE1_GPIO_Port, &GPIO_InitStruct);

  /*Configure GPIO pins : LINE2_Pin LINE4_Pin LINE3_Pin */
  GPIO_InitStruct.Pin = LINE2_Pin|LINE4_Pin|LINE3_Pin;
  GPIO_InitStruct.Mode = GPIO_MODE_INPUT;
  GPIO_InitStruct.Pull = GPIO_NOPULL;
  HAL_GPIO_Init(GPIOB, &GPIO_InitStruct);

}

void Error_Handler(void)
{
}

/************************ (C) COPYRIGHT STMicroelectronics *****END OF FILE****/
